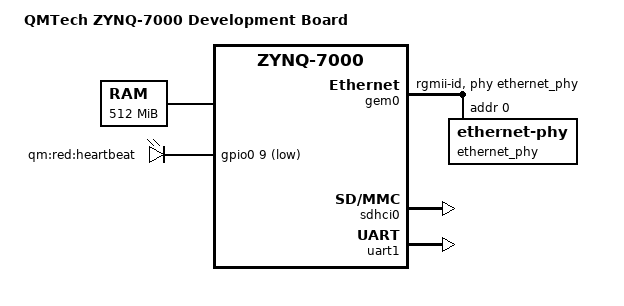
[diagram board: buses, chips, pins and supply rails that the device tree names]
// SPDX-License-Identifier: GPL-2.0+
/*
 *  Copyright (C) 2011 - 2015 Xilinx
 *  Copyright (C) 2012 National Instruments Corp.
 */
/dts-v1/;
#include "zynq-7000.dtsi"

/ {
	model = "QMTech ZYNQ-7000 Development Board";
	compatible = "qmtech,zynq-qm-zynq", "xlnx,zynq-qm-zynq", "xlnx,zynq-7000";

	aliases {
		ethernet0 = &gem0;
		serial0 = &uart1;
		mmc0 = &sdhci0;
	};

	memory@0 {
		device_type = "memory";
		reg = <0x0 0x20000000>;
	};

	chosen {
		bootargs = "";
		stdout-path = "serial0:115200n8";
	};

	leds {
		compatible = "gpio-leds";

		ds23 {
			label = "qm:red:heartbeat";
			gpios = <&gpio0 9 1>;
			linux,default-trigger = "heartbeat";
		};
	};
};

&clkc {
	ps-clk-frequency = <33333333>;
};

&gem0 {
	status = "okay";
	phy-mode = "rgmii-id";
	phy-handle = <&ethernet_phy>;

	ethernet_phy: ethernet-phy@0 {
		reg = <0>;
		device_type = "ethernet-phy";
	};
};

&sdhci0 {
	u-boot,dm-pre-reloc;
	status = "okay";
};

&uart1 {
	u-boot,dm-pre-reloc;
	status = "okay";
};
